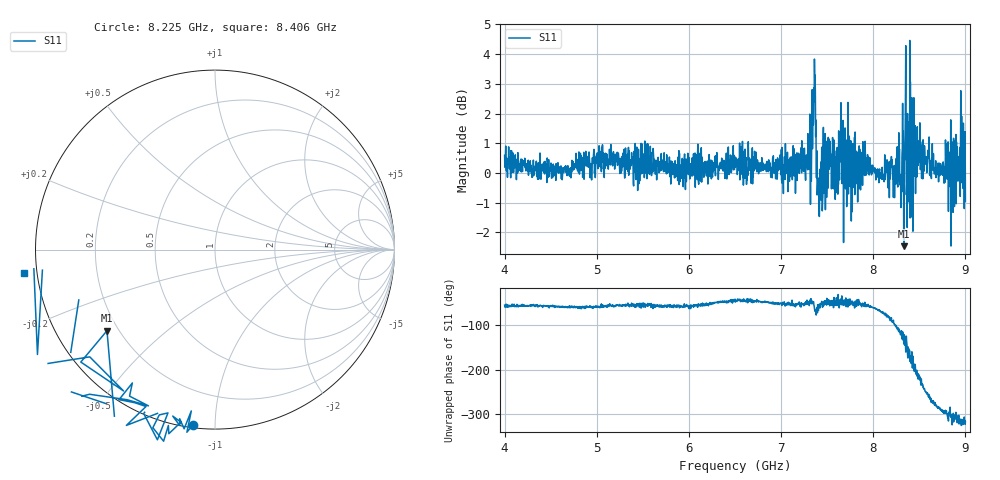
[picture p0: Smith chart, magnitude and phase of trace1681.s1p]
! Created with skrf 1.8.0 (http://scikit-rf.org).
# Hz S RI R 50.0
!freq ReS11 ImS11
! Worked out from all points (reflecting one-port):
!   1601 points, 4 GHz to 9 GHz, reference 50 ohm
!   lowest |S11| = -2.5 dB at 8.331 GHz (marker M1), VSWR 7.09, Z = 7.82 - j16.3 ohm
!   phase of S11 starts at -56 deg and turns -261 deg over the sweep
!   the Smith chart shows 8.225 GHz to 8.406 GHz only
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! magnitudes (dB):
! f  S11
! 4 GHz  0.6
! 4.625 GHz  -0.2
! 5.25 GHz  0.0
! 5.875 GHz  0.0
! 6.5 GHz  0.2
! 7.125 GHz  0.2
! 7.306 GHz  0.4
! 7.356 GHz  2.9
! 7.409 GHz  -0.5
! 7.538 GHz  0.2
! 7.609 GHz  0.9
! 7.65 GHz  2.4
! 7.75 GHz  -0.5
! 7.934 GHz  0.2
! 8.097 GHz  0.2
! 8.303 GHz  -0.5
! 8.316 GHz  0.9
! 8.331 GHz  -2.5
! 8.375 GHz  0.1
! 8.447 GHz  1.4
! 8.459 GHz  -0.7
! 8.503 GHz  0.7
! 8.684 GHz  0.1
! 8.809 GHz  0.8
! 8.869 GHz  -0.3
! 8.959 GHz  1.9
! 8.972 GHz  -0.2
! 9 GHz  -1.0
